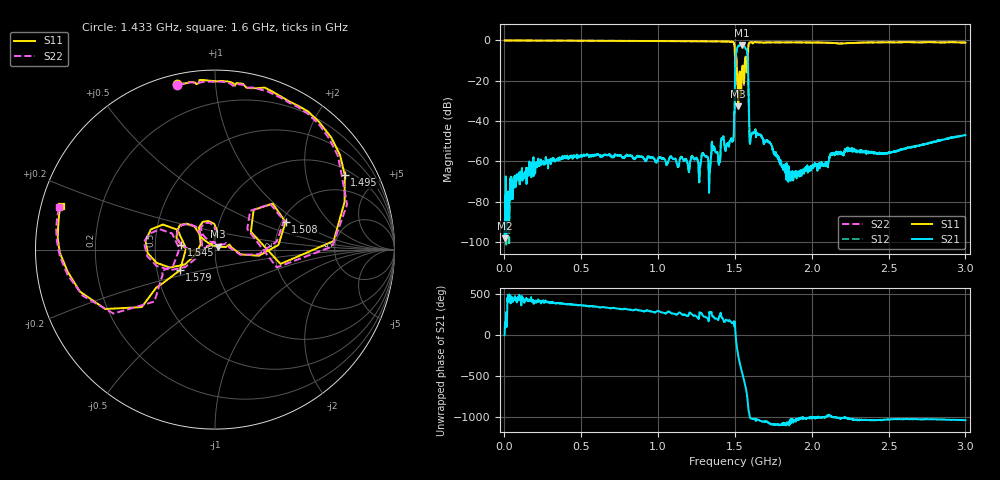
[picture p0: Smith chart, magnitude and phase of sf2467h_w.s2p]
!Agilent Technologies,E5070B,MY42401647,A.08.11
!Date: Tue Sep 11 14:23:31 2018
!Data & Calibration Information:
!Freq	S11:SOLT2(ON)	S21:SOLT2(ON)	S12:SOLT2(ON)	S22:SOLT2(ON)
# Hz S RI R 50
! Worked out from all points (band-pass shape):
!   1601 points, 1 MHz to 3 GHz, reference 50 ohm
!   highest |S21| = -2.24 dB at 1.544 GHz (marker M1); lowest = -98.3 dB at 1 MHz (marker M2)
!   |S21| within 3 dB of the highest: 1.51 GHz to 1.579 GHz (68.52 MHz wide, 4.44 % of centre)
!   lowest |S11| = -32.6 dB at 1.521 GHz (marker M3), VSWR 1.05, Z = 51.7 + j1.64 ohm
!   |S11| at or under -10 dB: 1.501107 GHz to 1.504409 GHz (3.302 MHz wide, 0.22 % of centre); 1.51 GHz to 1.566 GHz (55.15 MHz wide, 3.59 % of centre); 1.573703 GHz to 1.58076 GHz (7.057 MHz wide, 0.447 % of centre)
!   |S22| runs from -29.4 to 0.0 dB; largest |S21 - S12| = 0.022
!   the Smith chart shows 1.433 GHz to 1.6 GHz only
!   S11 on the Smith chart (normalised r, x): 1.433 GHz: 0.05, +0.80; 1.495 GHz: 1.23, +3.34; 1.508 GHz: 2.10, +0.78; 1.545 GHz: 0.68, +0.03; 1.579 GHz: 0.66, -0.16; 1.6 GHz: 0.06, +0.14
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1000000  1 0.0184  1.22e-05 -7.06e-07  9.15e-06 -1.91e-05  0.9996 -0.00323
1.734425e8  0.8335 -0.543  -8.8e-05 0.000466  -0.0001 0.000467  0.835 -0.5401
5.014581e8  -0.0519 -0.9833  0.00136 -7.11e-06  0.00138 -4.6e-05  -0.0489 -0.9848
1.001916e9  -0.9658 -0.0864  0.000424 -0.00112  0.000399 -0.00114  -0.9649 -0.0701
1.329932e9  -0.6107 0.7256  -0.000445 6.33e-05  -0.00042 9.6e-05  -0.6079 0.7263
1.433022e9  -0.2116 0.9201  -0.00228 0.000878  -0.00228 0.000928  -0.2092 0.9176
1.478008e9  0.2768 0.9027  -0.00323 0.00198  -0.00312 0.00217  0.2903 0.8827
1.494877e9  0.7235 0.4137  -0.0154 0.00554  -0.0152 0.00608  0.7079 0.4041
1.5005e9  0.365 -0.08  -0.0729 0.0897  -0.0709 0.0924  0.3444 -0.0993
1.507998e9  0.3932 0.1535  0.1062 -0.477  0.1043 -0.4738  0.3852 0.1601
1.521118e9  0.0173 0.0158  -0.2377 0.6817  -0.2503 0.6779  0.00562 0.0335
1.543611e9  -0.1456 -0.0032  0.1771 -0.7522  0.1585 -0.7636  -0.1451 0.000928
1.545485e9  -0.1873 0.0239  -0.0257 -0.7667  -0.0304 -0.7739  -0.188 0.0266
1.558606e9  -0.0797 0.0299  -0.7428 0.1002  -0.744 0.0997  -0.0713 0.016
1.579224e9  -0.1959 -0.1151  0.4924 -0.2153  0.4924 -0.2146  -0.2321 -0.0881
1.599842e9  -0.8595 0.2443  0.00125 0.00279  0.00129 0.00282  -0.8687 0.2351
1.659822e9  -0.5278 0.7327  0.00361 0.00301  0.00367 0.00296  -0.5276 0.7291
1.858506e9  0.00249 0.9001  0.000366 0.000311  0.000367 0.000253  0.0022 0.8965
2.000958e9  0.2598 0.8453  0.0003 0.000614  0.000345 0.000626  0.2728 0.8467
2.231506e9  0.5528 0.6553  0.00113 0.00184  0.00122 0.00182  0.5468 0.662
2.501416e9  0.8319 0.3465  0.00109 0.00129  0.00112 0.00127  0.8267 0.3685
3e9  0.8085 -0.352  0.00344 0.00286  0.00359 0.00278  0.8246 -0.3311
